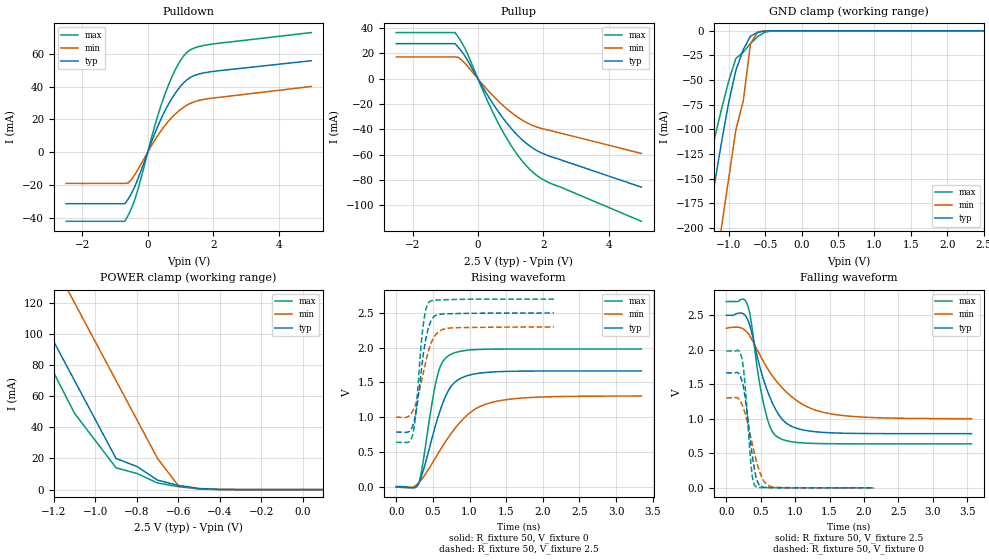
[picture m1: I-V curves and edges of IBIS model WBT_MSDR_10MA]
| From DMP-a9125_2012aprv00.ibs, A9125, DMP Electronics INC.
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[Model]   WBT_MSDR_10MA
|   WBT_MSDR_10MA  MODEL
|   DATE   :  2007/12/26 ;
|   REVISION :  0.1.1 ;
|   Model generated   Wed Dec 26 21:16:36 2007
Model_type  I/O
Polarity   Non-Inverting
Enable   Active-Low
| Signals
Vinl = 0.75
Vinh = 1.75
Vmeas = 1.25
| variable   typ   min   max
C_comp   1.360pF   1.272pF   1.482pF
[Model Spec]
|   Subparameter   typ   min   max
Vinh   1.750   1.610   1.890
Vinl   0.750   0.690   0.810
Vmeas   1.250   1.150   1.350
[Temperature Range]   25   125   -40
|   typ   min   max
[Voltage Range]   2.5V   2.3V   2.7V
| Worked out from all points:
|   slope of the pulldown table from 0 to 0.375 V, typ, clamps not added: 19.8 ohm
|   slope of the pullup table from 0 to 0.375 V, typ, clamps not added: 23.1 ohm
|   GND clamp passes 1 mA (typ) near -0.56 V on its own axis
|   POWER clamp passes 1 mA (typ) near -0.51 V on its own axis
|   rising waveform, R_fixture 50, V_fixture 0: 20-80 % time 290ps typ, 536ps min, 187ps max; typ from 0 V to 1.67 V
|   falling waveform, R_fixture 50, V_fixture 2.5: 20-80 % time 330ps typ, 600ps min, 204ps max; typ from 2.5 V to 0.785 V
|   rising waveform, R_fixture 50, V_fixture 2.5: 20-80 % time 132ps typ, 180ps min, 98.1ps max; typ from 0.785 V to 2.5 V
|   falling waveform, R_fixture 50, V_fixture 0: 20-80 % time 128ps typ, 193ps min, 89.7ps max; typ from 1.67 V to 0 V
[Pulldown]
|   Voltage   I(typ)   I(min)   I(max)
-2.5V     -31.55mA   -19.18mA   -42.3mA
-700mV    -31.55mA   -19.18mA   -42.3mA
-600mV    -28.73mA   -18.85mA   -38.67mA
-400mV    -21.16mA   -13.87mA   -29.22mA
-200mV    -11mA      -7.111mA   -15.45mA
200mV     10.68mA    6.82mA     15.12mA
500mV     24.2mA     15.54mA    34.03mA
900mV     37.62mA    24.28mA    52.51mA
1.2V      44.16mA    28.67mA    60.9mA
1.5V      47.27mA    31.18mA    64.06mA
1.9V      48.96mA    32.74mA    65.72mA
5V        55.77mA    40.04mA    72.96mA
[GND Clamp]
|   Voltage   I(typ)   I(min)   I(max)
-2.5V     -810mA     -900mA     -750mA
-1.4V     -252mA     -350mA     -200mA
-1.3V     -204mA     -300mA     -150mA
-1.2V     -158mA     -250mA     -111mA
-1.1V     -114mA     -200mA     -80mA
-1V       -72.9mA    -150mA     -51.1mA
-900mV    -39.9mA    -100mA     -27.9mA
-800mV    -19.1mA    -71.3mA    -21.7mA
-700mV    -5.32mA    -13mA      -12.9mA
-600mV    -1.53mA    -1.01mA    -5.7mA
-400mV    -13.4uA    -4.88uA    -88.4uA
2.5V      0A         0A         0A
[Pullup]
|   Voltage   I(typ)   I(min)   I(max)
|( VDD-Vmeas )
-2.5V     27.78mA    17.28mA    36.53mA
-700mV    27.78mA    17.28mA    36.53mA
-600mV    24.95mA    16.9mA     32.94mA
-400mV    18.12mA    12.4mA     24.25mA
300mV     -13.17mA   -8.943mA   -17.87mA
700mV     -28.67mA   -19.48mA   -38.77mA
1V        -38.59mA   -26.2mA    -52.05mA
1.2V      -44.3mA    -30.04mA   -59.7mA
1.6V      -53.34mA   -36mA      -71.86mA
1.9V      -57.96mA   -38.87mA   -78.13mA
2.2V      -61.16mA   -40.77mA   -82.31mA
5V        -85.53mA   -58.9mA    -112.5mA
[POWER Clamp]
|   Voltage   I(typ)   I(min)   I(max)
|( VDD-Vmeas )
-2.5V     420mA      470mA      400mA
-1.4V     145mA      195mA      125mA
-1.3V     120mA      170mA      100mA
-1.2V     95mA       145mA      75mA
-1.1V     70mA       120mA      49mA
-900mV    20mA       70mA       14mA
-800mV    14.9mA     45mA       10.4mA
-700mV    6.09mA     20mA       4.26mA
-600mV    2.68mA     2.56mA     1.88mA
-500mV    731uA      316uA      511uA
-400mV    105uA      45.9uA     73.8uA
100mV     0A         0A         0A
[Rising Waveform]
R_fixture = 50
V_fixture = 0
V_fixture_min = 0
V_fixture_max = 0
C_fixture = 0
L_fixture = 0
|   Time   V(typ)   V(min)   V(max)
0s        206.4uV    -6.51mV    -2.685uV
304ps     45.34mV    52.24mV    39.61mV
352ps     173mV      111.8mV    262.2mV
496ps     728.2mV    344.1mV    1.253V
560ps     967.9mV    457.1mV    1.589V
624ps     1.171V     568.3mV    1.78V
736ps     1.424V     746.9mV    1.899V
1.04ns    1.617V     1.092V     1.97V
1.392ns   1.655V     1.234V     1.981V
3.344ns   1.666V     1.305V     1.982V
[Falling Waveform]
R_fixture = 50
V_fixture = 2.5
V_fixture_min = 2.3
V_fixture_max = 2.7
C_fixture = 0
L_fixture = 0
|   Time   V(typ)   V(min)   V(max)
0s        2.5V       2.311V     2.7V
306ps     2.448V     2.249V     2.654V
360ps     2.289V     2.169V     2.417V
468ps     1.829V     1.963V     1.612V
558ps     1.515V     1.798V     1.146V
648ps     1.279V     1.653V     854.4mV
756ps     1.07V      1.511V     729mV
990ps     874.4mV    1.288V     662.4mV
1.512ns   797.9mV    1.074V     639.5mV
3.564ns   785.1mV    1.002V     637.7mV
[Rising Waveform]
R_fixture = 50
V_fixture = 2.5
V_fixture_min = 2.3
V_fixture_max = 2.7
C_fixture = 0
L_fixture = 0
|   Time   V(typ)   V(min)   V(max)
0s        785.2mV    1.001V     637.8mV
168ps     789.6mV    1.013V     641.5mV
224ps     871.6mV    1.085V     745.3mV
272ps     1.087V     1.213V     1.113V
368ps     1.892V     1.629V     2.319V
408ps     2.147V     1.823V     2.568V
448ps     2.313V     1.985V     2.657V
544ps     2.468V     2.195V     2.686V
672ps     2.488V     2.275V     2.691V
2.152ns   2.5V       2.299V     2.7V
[Falling Waveform]
R_fixture = 50
V_fixture = 0
V_fixture_min = 0
V_fixture_max = 0
C_fixture = 0
L_fixture = 0
|   Time   V(typ)   V(min)   V(max)
0s        1.666V     1.305V     1.982V
168ps     1.669V     1.299V     1.993V
224ps     1.559V     1.217V     1.881V
272ps     1.318V     1.08V      1.495V
368ps     543.1mV    675.5mV    246.7mV
424ps     192.1mV    436.7mV    22.2mV
472ps     51.22mV    269mV      5.91mV
536ps     9.903mV    115.4mV    3.425mV
664ps     3.231mV    14.14mV    1.893mV
2.144ns   15.75uV    167.6uV    1.044uV
[Ramp]
| variables   typ   min   max
dV/dt_r   0.9993/290.151p 0.782939/534.184p 1.18902/186.602p
dV/dt_f   1.02895/329.86p 0.77922/599.26p 1.23738/203.832p
R_load   = 50.000000 | Ohms
| [End Model]
